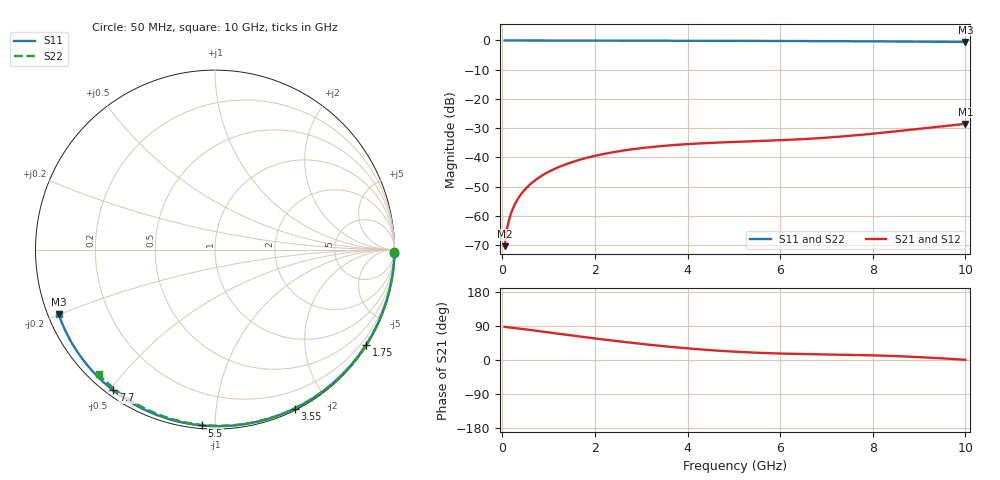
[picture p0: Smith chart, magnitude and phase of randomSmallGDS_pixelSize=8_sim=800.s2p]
! freq	dB(S11)	phase(S11)	dB(S12)	phase(S12)
!  dB(S21)	phase(S21)	dB(S22)	phase(S22)
!S-par simulation data
#  GHz  S  DB  R 50
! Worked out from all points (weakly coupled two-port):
!   200 points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, 50 MHz to 10 GHz, reference 50 ohm
!   highest |S21| = -28.51 dB at 10 GHz (marker M1); lowest = -70.3 dB at 50 MHz (marker M2)
!   lowest |S11| = -0.5 dB at 10 GHz (marker M3), VSWR 33.82, Z = 1.54 - j9.9 ohm
!   |S11| at or under -10 dB: nowhere
!   |S22| runs from -0.4 to 0.0 dB; largest |S21 - S12| = 0
!   S11 on the Smith chart (normalised r, x): 50 MHz: open; 1.75 GHz: 0.03, -3.46; 3.55 GHz: 0.02, -1.62; 5.5 GHz: 0.02, -0.93; 7.7 GHz: 0.02, -0.51; 10 GHz: 0.03, -0.20
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0.05  -0.00 -0.9  -70.34 87.7  -70.34 87.7  -0.00 -0.8
0.1  -0.00 -1.9  -64.48 86.6  -64.48 86.6  -0.00 -1.6
0.15  -0.00 -2.8  -61.06 85.9  -61.06 85.9  -0.00 -2.4
0.2  -0.00 -3.8  -58.62 85.3  -58.62 85.3  -0.00 -3.1
0.25  -0.00 -4.7  -56.71 84.6  -56.71 84.6  -0.00 -3.9
0.35  -0.00 -6.6  -53.83 83.2  -53.83 83.2  -0.00 -5.5
0.5  -0.01 -9.4  -50.78 80.9  -50.78 80.9  -0.01 -7.8
0.7  -0.01 -13.1  -47.91 77.7  -47.91 77.7  -0.01 -10.9
1  -0.02 -18.6  -44.91 72.8  -44.91 72.8  -0.02 -15.5
1.35  -0.03 -25.0  -42.46 67.1  -42.46 67.1  -0.03 -20.9
1.75  -0.04 -32.2  -40.44 60.8  -40.44 60.8  -0.03 -27.0
2.5  -0.06 -45.5  -37.93 49.5  -37.93 49.5  -0.05 -38.2
3.4  -0.08 -60.9  -36.16 37.4  -36.16 37.4  -0.07 -51.2
3.55  -0.09 -63.4  -35.96 35.6  -35.96 35.6  -0.07 -53.3
4.3  -0.11 -75.6  -35.18 27.7  -35.18 27.7  -0.09 -63.8
5.05  -0.13 -87.4  -34.67 21.7  -34.67 21.7  -0.11 -73.9
5.5  -0.15 -94.2  -34.41 19.2  -34.41 19.2  -0.13 -79.7
6.7  -0.22 -111.8  -33.55 15.3  -33.55 15.3  -0.18 -94.8
7.7  -0.28 -125.9  -32.34 13.2  -32.34 13.2  -0.24 -106.8
8.35  -0.34 -134.8  -31.32 10.9  -31.32 10.9  -0.29 -114.4
9.2  -0.42 -146.5  -29.88 6.3  -29.88 6.3  -0.36 -124.1
10  -0.51 -157.6  -28.51 0.6  -28.51 0.6  -0.44 -133.0
